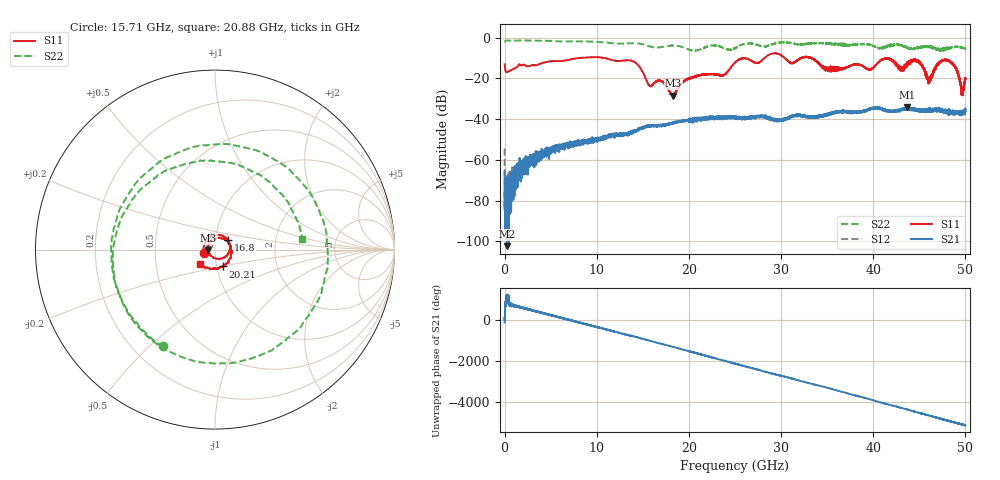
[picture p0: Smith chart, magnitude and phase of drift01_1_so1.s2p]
!Created with skrf (http://scikit-rf.org).
# Hz S RI R 50.0
!freq ReS11 ImS11 ReS21 ImS21 ReS12 ImS12 ReS22 ImS22
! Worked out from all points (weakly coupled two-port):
!   10001 points, 300 kHz to 50 GHz, reference 50 ohm
!   highest |S21| = -34.12 dB at 43.72 GHz (marker M1); lowest = -102.4 dB at 290.3 MHz (marker M2)
!   lowest |S11| = -28.5 dB at 18.3 GHz (marker M3), VSWR 1.08, Z = 46.4 - j0.401 ohm
!   |S11| at or under -10 dB: 10.83 GHz to 25.83 GHz (15 GHz wide, 81.9 % of centre); 33.35 GHz to 41.42 GHz (8.069 GHz wide, 21.6 % of centre); 41.44 GHz to end of sweep (the widest 3 of 11)
!   |S22| runs from -6.8 to -1.4 dB; largest |S21 - S12| = 0.0038
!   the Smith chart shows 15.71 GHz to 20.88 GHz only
!   S11 on the Smith chart (normalised r, x): 15.71 GHz: 0.88, -0.03; 16.8 GHz: 1.15, +0.12; 20.21 GHz: 1.07, -0.20; 20.88 GHz: 0.83, -0.13
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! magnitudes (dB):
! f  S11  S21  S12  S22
! 300 kHz  -13.1  -65.8  -54.4  -2.1
! 290.3 MHz  -16.9  -102.4  -71.4  -1.4
! 2.995 GHz  -13.5  -60.3  -58.6  -1.4
! 8.335 GHz  -9.9  -51.0  -51.6  -1.8
! 13.9 GHz  -11.5  -46.5  -46.2  -2.7
! 15.71 GHz  -23.6  -43.4  -43.5  -4.3
! 16.67 GHz  -21.0  -43.0  -43.1  -4.8
! 16.8 GHz  -21.1  -42.8  -43.3  -4.8
! 18.3 GHz  -28.5  -41.9  -41.7  -3.8
! 20.21 GHz  -19.7  -40.8  -41.1  -6.1
! 20.88 GHz  -18.6  -39.6  -40.1  -6.2
! 23.73 GHz  -18.4  -39.3  -38.7  -5.1
! 25 GHz  -12.2  -39.5  -39.5  -5.1
! 33.34 GHz  -10.2  -38.5  -38.7  -2.7
! 35.25 GHz  -14.9  -37.4  -37.4  -2.9
! 41.67 GHz  -10.5  -35.9  -36.1  -4.3
! 43.72 GHz  -11.8  -34.1  -34.8  -4.5
! 44.9 GHz  -12.0  -35.9  -35.8  -4.9
! 46.08 GHz  -21.1  -35.5  -35.6  -4.3
! 48.11 GHz  -11.2  -36.2  -36.8  -4.9
! 49.62 GHz  -26.7  -37.5  -36.7  -4.9
! 50 GHz  -20.6  -35.8  -36.5  -5.4
